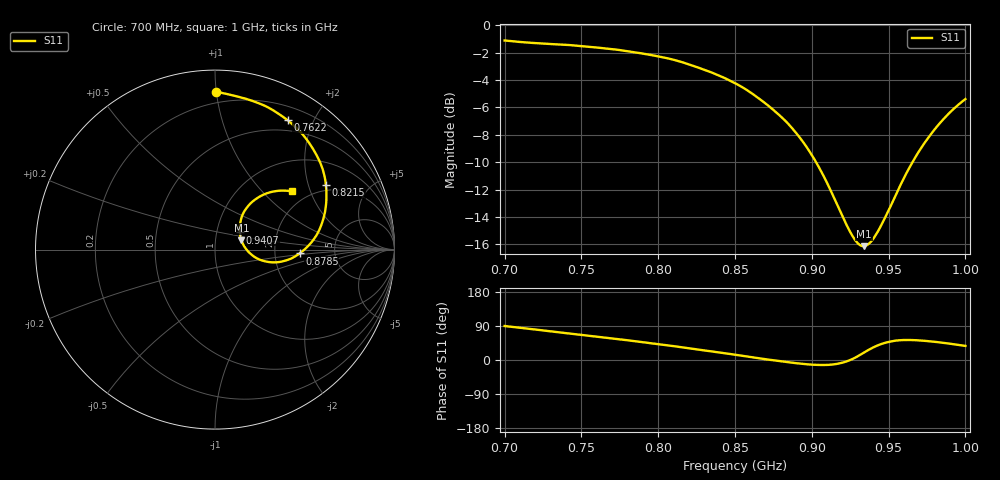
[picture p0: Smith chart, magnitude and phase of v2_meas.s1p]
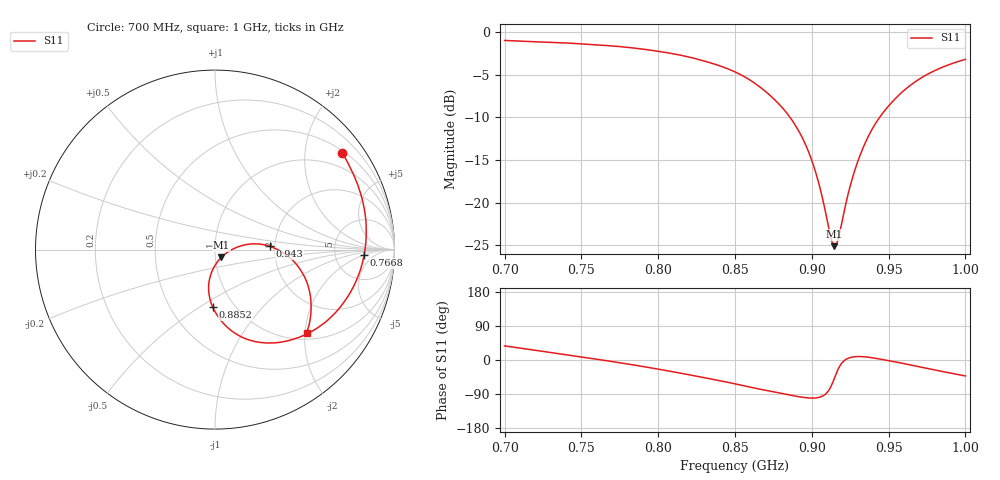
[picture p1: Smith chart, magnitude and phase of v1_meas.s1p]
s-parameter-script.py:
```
import skrf as rf
import numpy as np
import matplotlib.pyplot as plt
import pandas as pd

path = "C:/Users/Home/Desktop/dschrobiltgen_Forest_FireDetection/ForestFireDetection/Measurements/RF_network/data/"

Dut_cap_v2 = rf.Network(path + 'v2_meas.s1p')
Dut_cap_v1 = rf.Network(path + 'v1_meas.s1p')
data_v1 = np.loadtxt(path + 'v1_meas.s1p',comments='!', skiprows=24)
data_v2= np.loadtxt(path + 'v2_meas.s1p',comments='!', skiprows=24)
Thru_v1 = np.loadtxt(path + 'v1_thru.s2p',comments='!', skiprows=24)
Thru_v2 = np.loadtxt(path + 'v2_thru.s2p',comments='!', skiprows=24)
Z0 = 50
Y0 = 1/Z0
target_freq = 868e6

idx_v1 = np.argmin(np.abs(Dut_cap_v1.f - target_freq))
idx_v2 = np.argmin(np.abs(Dut_cap_v2.f - target_freq))
s11_v1 = Dut_cap_v1.s[idx_v1, 0, 0]
s11_v2 = Dut_cap_v2.s[idx_v2, 0, 0]
z_v1 = Dut_cap_v1.z[idx_v1, 0, 0]
z_v2 = Dut_cap_v2.z[idx_v2, 0, 0]

z_str_v1 = f"{z_v1.real:.1f} {'+' if z_v1.imag >= 0 else '-'} j{abs(z_v1.imag):.1f} Ω"
z_str_v2 = f"{z_v2.real:.1f} {'+' if z_v2.imag >= 0 else '-'} j{abs(z_v2.imag):.1f} Ω"

fig, ax = plt.subplots()
Dut_cap_v1.plot_s_smith(ax=ax, label='PCB V1')
ax.plot(s11_v1.real, s11_v1.imag, 'rx', markersize=15, label= z_str_v1 + ' at 868 MHz (V1)', color='green')
Dut_cap_v2.plot_s_smith(ax=ax, label='PCB V2')
ax.plot(s11_v2.real, s11_v2.imag, 'rx', markersize=15, label= z_str_v2 + ' at 868 MHz (V2)', color='red')

plt.legend(loc='upper left', bbox_to_anchor=(-0.3, 1.0))
plt.show()


freq_v1 = data_v1[:,0]
freq_v2 = data_v2[:,0]

S11_real_v1 = data_v1[:,1]
S11_imag_v1 = data_v1[:,2]
S11_real_v2 = data_v2[:,1]
S11_imag_v2 = data_v2[:,2]

S11_data_v1 = S11_real_v1 + 1j*S11_imag_v1
S11_data_v2 = S11_real_v2 + 1j*S11_imag_v2

carrier_freq = 868
BW = 0.125

plt.figure()
plt.axvspan(carrier_freq - BW/2, carrier_freq + BW/2, color='gray', alpha=0.5, label='Frequency band \nused')
plt.plot(1000*freq_v1, 20*np.log10(np.abs(S11_data_v1)), label='PCB V1')
plt.plot(1000*freq_v2, 20*np.log10(np.abs(S11_data_v2)), label='PCB V2')
plt.xlabel('Frequency [MHz]')
plt.ylabel('S11 [dB]')
plt.xlim(800, 1000)
plt.legend()
plt.grid()


Thru_real_v1 = Thru_v1[:,3]
Thru_imag_v1 = Thru_v1[:,4]
Thru_real_v2 = Thru_v2[:,3]
Thru_imag_v2 = Thru_v2[:,4]

Thru_data_v1 = Thru_real_v1 + 1j*Thru_imag_v1
Thru_data_v2 = Thru_real_v2 + 1j*Thru_imag_v2
carrier_freq = 868
BW = 0.125

plt.figure()
plt.axvspan(carrier_freq - BW/2, carrier_freq + BW/2, color='gray', alpha=0.5, label='Frequency band \nused')
plt.plot(1000*Thru_v1[:,0], 20*np.log10(np.abs(Thru_data_v1)), label='PCB V1')
plt.plot(1000*Thru_v2[:,0], 20*np.log10(np.abs(Thru_data_v2)), label='PCB V2')

plt.xlabel('Frequency [MHz]')
plt.ylabel('S21 [dB]')
plt.xlim(800, 1000)
plt.legend()
plt.grid()
plt.show()




#########  V2  #########
print("\n\n      V2: \n")
beta_SMA = 26.344  # en rad/m
beta_line = 33.38  # en rad/m

L_SMA = 0.007  # SMA length
L_line = 0.06  # length line

alpha_SMA_db = 0.029
alpha_line_db = 0.174

alpha_SMA_db_per_m = alpha_SMA_db / L_SMA  # conversion dB/m
alpha_line_db_per_m = alpha_line_db / L_line  # conversion dB/m

# Conversion of coefficients to Neper/m
alpha_SMA = alpha_SMA_db_per_m / 8.686
alpha_line = alpha_line_db_per_m / 8.686


def compute_ZL(Zin, Z0, gamma, L):
    tanh_gammaL = np.tanh(gamma * L)
    num = (Zin - Z0 * tanh_gammaL)
    den = (Z0 - Zin * tanh_gammaL)
    ZL = Z0 * (num / den)
    return ZL

Z_in = 160.6 + 1j * 12.7
Z_int = compute_ZL(Z_in, Z0, alpha_SMA + 1j*beta_SMA, L_SMA)
Z_A_1C = compute_ZL(Z_int, Z0, alpha_line + 1j*beta_line, L_line)



#########  V1  #########
print("\n\n      V1: \n")
L_line = 0.075  # length line

alpha_SMA_db = 0.029
alpha_line_db = 0.2173

alpha_SMA_db_per_m = alpha_SMA_db / L_SMA  # conversion dB/m
alpha_line_db_per_m = alpha_line_db / L_line  # conversion dB/m

alpha_SMA = alpha_SMA_db_per_m / 8.686
alpha_line = alpha_line_db_per_m / 8.686



Z_in = 38.2 - 1j * 44
Z_int = compute_ZL(Z_in, Z0, alpha_SMA + 1j*beta_SMA, L_SMA)
Z_A_1C = compute_ZL(Z_int, Z0, alpha_line + 1j*beta_line, L_line)




#############################################   Towards generator    #########################################################
def compute_ZG(ZL, Z0, gamma, L):
    tanh_gammaL = np.tanh(gamma * L)
    num = (ZL + Z0 * tanh_gammaL)
    den = (Z0 + ZL * tanh_gammaL)
    ZG = Z0 * (num / den)
    return ZG

initial_prot = 42.48 + 1j * 64.87
new_prot = 33.25 - 1j * 98.58

Z_G_inital = compute_ZG(initial_prot, Z0, alpha_SMA + 1j*beta_SMA, L_SMA)
Z_G_new = compute_ZG(new_prot, Z0, alpha_SMA + 1j*beta_SMA, L_SMA)

print("\n\n      Towards generator: \n")
print(f"Z_G_inital: {Z_G_inital:.3f}")
print(f"Z_G_new: {Z_G_new:.3f}")



def compute_Gamma(Zin, Z0):
    return (Zin - Z0) / (Zin + Z0)

def compute_losses(Gamma):
    ML = -10* np.log10(1- np.abs(Gamma)**2)
    return ML


Gamma_initial = compute_Gamma(Z_G_inital, Z0)
Gamma_new = compute_Gamma(Z_G_new, Z0)
print("\n\n      Gamma: \n")
print(f"Gamma_initial: {np.abs(Gamma_initial):.3f}")
print(f"Gamma_new: {np.abs(Gamma_new):.3f} \n")

ML_initial = compute_losses(Gamma_initial)
ML_new = compute_losses(Gamma_new)
print(f"ML_initial: {ML_initial:.3f} dB")
print(f"ML_new: {ML_new:.3f} dB")
```
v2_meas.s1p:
! 5/26/2025 8:46:26 PM
! C:\ANRITSUVNA\DORIAN\26\V1_MEAS2.S1P
! CHANNEL.1
! TR.MEASUREMENT
! CORRECTED.DATA
! RF.CORRECTION: FULL.TWO.PORT.CAL.PORT.1.2
! AVERAGING: 1 PointByPoint
! IF.BANDWIDTH: 300HZ
! SWEEPTYPE:  FREQ.SWEEP(Linear)
! Reference Plane Port Info
! PORT:  PORT1
! DISTANCE:  0  m
! TIME:  0  s
! PHASE.OFFSET:  0 °
! LOSS:  0  dB
! REF.LOSS:  0  dB
! REF.FREQ:  0  Hz
! Power Info
! POWER:  5  dBm
! EFF.POWER:  5  dBm
# GHZ S RI R 50.0
! FREQ.GHZ  S11RE  S11IM
!; PortSelection: Port_1
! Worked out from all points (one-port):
!   401 points, 700 MHz to 1 GHz, reference 50 ohm
!   lowest |S11| = -16.1 dB at 934 MHz (marker M1), VSWR 1.37, Z = 66.8 + j7.18 ohm
!   |S11| at or under -10 dB: 902.8 MHz to 965.6 MHz (62.81 MHz wide, 6.72 % of centre)
!   S11 on the Smith chart (normalised r, x): 700 MHz: 0.13, +1.00; 762.2 MHz: 0.36, +1.65; 821.5 MHz: 1.78, +2.61; 878.5 MHz: 2.77, -0.15; 940.8 MHz: 1.29, +0.26; 1 GHz: 1.65, +1.50
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0.7  0.00483 0.8797
0.73675  0.2562 0.8103
0.76225  0.4044 0.7207
0.8005  0.5733 0.5122
0.8215  0.6181 0.3596
0.85075  0.5943 0.1425
0.8785  0.4709 -0.0216
0.90025  0.3263 -0.0712
0.92575  0.1726 0.00396
0.934  0.1469 0.0525
0.94075  0.1384 0.0958
0.95575  0.1532 0.1936
0.9715  0.2244 0.2794
1  0.4282 0.3245
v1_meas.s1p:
! 5/26/2025 8:47:34 PM
! C:\ANRITSUVNA\DORIAN\26\V2_MEAS2.S1P
! CHANNEL.1
! TR.MEASUREMENT
! CORRECTED.DATA
! RF.CORRECTION: FULL.TWO.PORT.CAL.PORT.1.2
! AVERAGING: 1 PointByPoint
! IF.BANDWIDTH: 300HZ
! SWEEPTYPE:  FREQ.SWEEP(Linear)
! Reference Plane Port Info
! PORT:  PORT1
! DISTANCE:  0  m
! TIME:  0  s
! PHASE.OFFSET:  0 °
! LOSS:  0  dB
! REF.LOSS:  0  dB
! REF.FREQ:  0  Hz
! Power Info
! POWER:  5  dBm
! EFF.POWER:  5  dBm
# GHZ S RI R 50.0
! FREQ.GHZ  S11RE  S11IM
!; PortSelection: Port_1
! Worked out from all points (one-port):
!   401 points, 700 MHz to 1 GHz, reference 50 ohm
!   lowest |S11| = -25.1 dB at 914.5 MHz (marker M1), VSWR 1.12, Z = 53.5 - j4.6 ohm
!   |S11| at or under -10 dB: 885.8 MHz to 944.2 MHz (58.4 MHz wide, 6.38 % of centre)
!   S11 on the Smith chart (normalised r, x): 700 MHz: 0.55, +2.87; 766.8 MHz: 10, -2; 885.2 MHz: 0.79, -0.57; 943 MHz: 1.87, +0.08; 1 GHz: 1.16, -2.04
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0.7  0.7088 0.5389
0.73525  0.8277 0.2484
0.76675  0.8305 -0.0298
0.8005  0.6997 -0.3179
0.84625  0.3038 -0.5205
0.8635  0.1308 -0.4779
0.88525  -0.0126 -0.321
0.90025  -0.0319 -0.171
0.9145  0.0355 -0.0428
0.9175  0.0586 -0.0228
0.9295  0.1677 0.0268
0.943  0.3046 0.0183
0.97225  0.5127 -0.1841
1  0.5115 -0.4627
